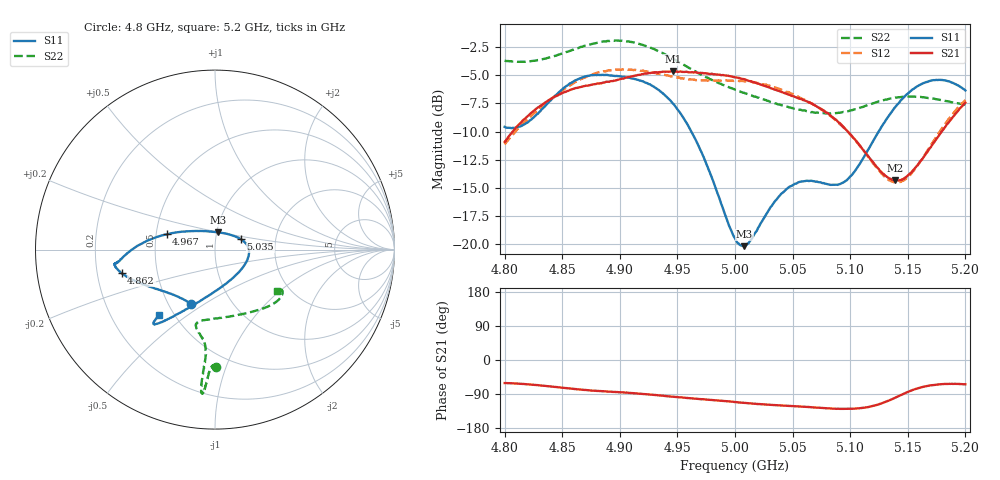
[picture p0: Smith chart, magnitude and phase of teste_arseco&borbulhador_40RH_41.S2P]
! Network Analyzer HP8722D
! Hewlett-Packard
! Data name: Linha & Wilkinson
! Saver's name: Rodrigo Anjos
! Comments: Teste da utilização de aquisição
! continua pelo VNA HP8722D
! Time and date: 15/4/2025 16:41
!  Frequency  S11  S21  S12  S22
# HZ  S  MA R 50
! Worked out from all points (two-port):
!   401 points, 4.8 GHz to 5.2 GHz, reference 50 ohm
!   highest |S21| = -4.64 dB at 4.946 GHz (marker M1); lowest = -14.4 dB at 5.139 GHz (marker M2)
!   |S21| within 3 dB of the highest: 4.832 GHz to 5.069 GHz (236.9 MHz wide, 4.79 % of centre); 5.198127 GHz to end of sweep
!   lowest |S11| = -20.2 dB at 5.008 GHz (marker M3), VSWR 1.22, Z = 51 + j9.84 ohm
!   |S11| at or under -10 dB: 4.962 GHz to 5.125 GHz (162.6 MHz wide, 3.22 % of centre)
!   |S22| runs from -8.4 to -1.9 dB; largest |S21 - S12| = 0.88
!   S11 on the Smith chart (normalised r, x): 4.8 GHz: 0.65, -0.44; 4.862 GHz: 0.31, -0.11; 4.967 GHz: 0.57, +0.11; 5.035 GHz: 1.33, +0.16; 5.2 GHz: 0.41, -0.39
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4.8e9  0.3315 -113.9  0.2841 -60.9  0.2772 -175.1  0.6539 -89.6
4.819e9  0.3452 -133.7  0.3658 -63.9  0.3544 -173.4  0.6483 -91.3
4.84e9  0.4351 -153.0  0.4408 -69.8  0.4406 -173.8  0.6784 -92.6
4.862e9  0.5363 -165.9  0.4947 -76.8  0.5271 -176.4  0.7391 -93.6
4.867e9  0.5496 -167.8  0.5002 -78.4  0.5432 -177.5  0.7539 -93.9
4.9e9  0.5572 -172.3  0.5401 -85.0  0.5967 175.8  0.8029 -95.3
4.934e9  0.4836 -178.1  0.5812 -93.6  0.5734 171.9  0.7181 -95.7
4.946e9  0.4216 176.3  0.5862 -96.9  0.5552 172.0  0.6689 -95.4
4.967e9  0.2823 162.5  0.5785 -102.2  0.5359 173.9  0.5793 -95.0
5e9  0.1058 106.4  0.5514 -111.0  0.5327 176.3  0.4859 -99.3
5.008e9  0.09749 78.9  0.5402 -113.2  0.5294 176.2  0.4704 -101.2
5.035e9  0.1554 22.1  0.4854 -119.1  0.4965 175.0  0.4217 -103.8
5.05e9  0.1822 6.4  0.4553 -121.6  0.4643 174.2  0.4021 -100.4
5.067e9  0.1903 -12.0  0.4209 -124.9  0.4215 173.8  0.3863 -91.7
5.087e9  0.1829 -44.4  0.3585 -128.7  0.3565 173.8  0.3819 -76.8
5.097e9  0.1916 -65.4  0.3198 -129.1  0.3189 174.5  0.3885 -68.4
5.134e9  0.3739 -116.4  0.1954 -106.4  0.1916 -159.1  0.4426 -43.4
5.139e9  0.4061 -119.4  0.1913 -99.5  0.188 -151.4  0.4476 -41.1
5.151e9  0.4719 -124.4  0.2033 -83.1  0.2002 -132.4  0.4525 -36.7
5.17e9  0.533 -128.7  0.2695 -66.9  0.2745 -113.0  0.4447 -32.1
5.184e9  0.5314 -130.0  0.3405 -63.1  0.3507 -107.3  0.4315 -31.2
5.2e9  0.4817 -130.5  0.4248 -64.1  0.4362 -106.3  0.4155 -33.5
